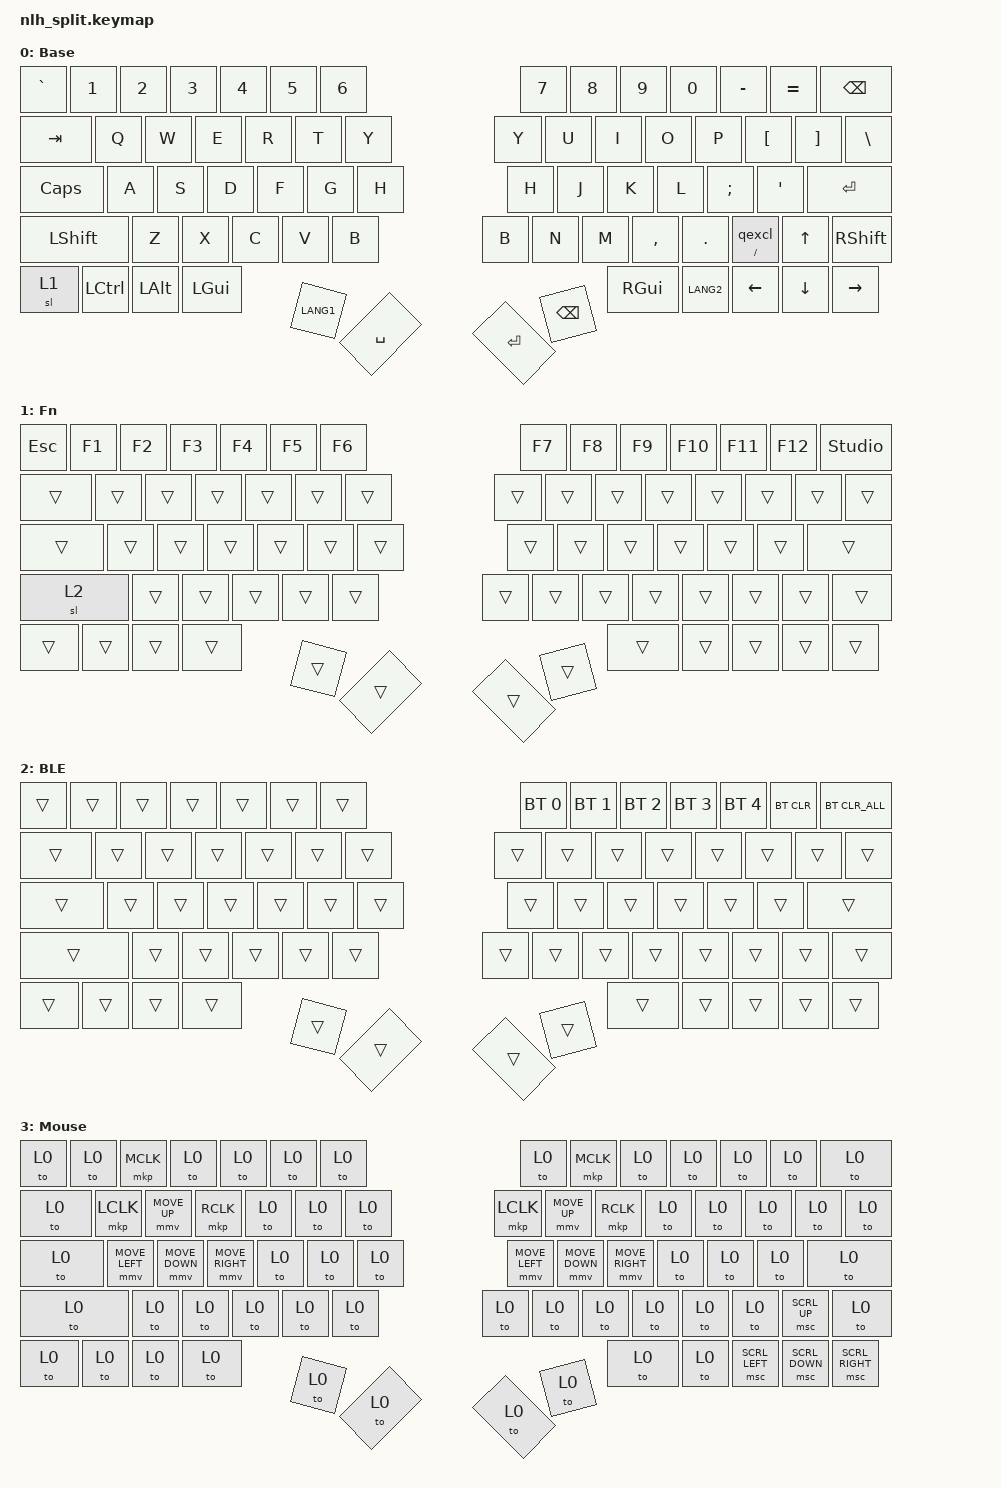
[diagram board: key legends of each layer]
#include <behaviors.dtsi>
#include <dt-bindings/zmk/keys.h>
#include <dt-bindings/zmk/bt.h>
#include <dt-bindings/zmk/pointing.h>

/*
 * NLH Split — 70-key wireless split keyboard (ZMK, nice!nano v2)
 *
 * Layer 0 Base  : Standard QWERTY
 * Layer 1 Fn    : F1–F12, ZMK Studio unlock
 * Layer 2 BLE   : Bluetooth profile select / clear
 * Layer 3 Mouse : Mouse cursor / click / scroll
 *
 * Key layout by row:
 * ROW0 (14): `  1  2  3  4  5  6  |  7  8  9  0  -  =  BSPC
 * ROW1 (15): TAB  Q  W  E  R  T  Y  |  Y  U  I  O  P  [  ]  \
 * ROW2 (14): CAPS  A  S  D  F  G  H  |  H  J  K  L  ;  '  RET
 * ROW3 (14): LSFT  Z  X  C  V  B  |  B  N  M  ,  .  ?/!//  UP  RSFT
 * ROW4 (13): Fn  LCTL  LALT  LGUI  LANG1  SPC  |  RET  BSPC  RGUI  LANG2  ←  ↓  →
 *
 * Combo: SPC + RET → toggle mouse layer
 */

/* Mouse cursor: quadratic acceleration, 16ms interval */
&mmv {
    trigger-period-ms = <16>;
    time-to-max-speed-ms = <500>;
    acceleration-exponent = <2>;
};

/ {
    behaviors {

        /* mod-morph: tap=?, shift+tap=! */
        qexcl: qexcl {
            compatible = "zmk,behavior-mod-morph";
            #binding-cells = <0>;
            bindings = <&kp QMARK>, <&kp EXCL>;
            mods = <(MOD_LSFT|MOD_RSFT)>;
        };

        /* hold-tap: hold=/, tap=?/! (second cell unused, tap has 0 binding-cells) */
        qexcl_ht: qexcl_ht {
            compatible = "zmk,behavior-hold-tap";
            #binding-cells = <2>;
            tapping-term-ms = <200>;
            flavor = "tap-preferred";
            bindings = <&kp>, <&qexcl>;
        };

    };

    combos {
        compatible = "zmk,combos";
        /* SPC(62) + RET(63) simultaneously → toggle mouse layer */
        combo_mouse {
            timeout-ms = <50>;
            key-positions = <62 63>;
            bindings = <&tog 3>;
        };
    };

    keymap {
        compatible = "zmk,keymap";

        /* ===== Layer 0: Base ===== */
        default_layer {
            display-name = "Base";
            bindings = <
// ╭──────────┬──────────┬──────────┬──────────┬──────────┬──────────┬──────────╮   ╭──────────┬──────────┬──────────┬──────────┬──────────┬──────────┬───────────────╮
    &kp GRAVE  &kp N1     &kp N2     &kp N3     &kp N4     &kp N5     &kp N6         &kp N7     &kp N8     &kp N9     &kp N0     &kp MINUS  &kp EQUAL  &kp BSPC
// ├──────────┼──────────┼──────────┼──────────┼──────────┼──────────┼──────────┤   ├──────────┼──────────┼──────────┼──────────┼──────────┼──────────┼──────────┬────┤
    &kp TAB    &kp Q      &kp W      &kp E      &kp R      &kp T      &kp Y          &kp Y      &kp U      &kp I      &kp O      &kp P      &kp LBKT   &kp RBKT   &kp BSLH
// ├──────────┼──────────┼──────────┼──────────┼──────────┼──────────┼──────────┤   ├──────────┼──────────┼──────────┼──────────┼──────────┼──────────┴──────────┤
    &kp CLCK   &kp A      &kp S      &kp D      &kp F      &kp G      &kp H          &kp H      &kp J      &kp K      &kp L      &kp SEMI   &kp SQT    &kp RET
// ├──────────┼──────────┼──────────┼──────────┼──────────┼──────────┤             ├──────────┼──────────┼──────────┼──────────┼──────────┼──────────┼──────────┤
    &kp LSHFT  &kp Z      &kp X      &kp C      &kp V      &kp B                    &kp B      &kp N      &kp M      &kp COMMA  &kp DOT    &qexcl_ht FSLH 0 &kp UP  &kp RSHFT
// ├──────────┼──────────┼──────────┼──────────┼──────────┼──────────┤             ├──────────┼──────────┼──────────┼──────────┼──────────┼──────────┼──────────┤
    &sl 1      &kp LCTRL  &kp LALT   &kp LGUI   &kp LANG1  &kp SPACE                &kp RET    &kp BSPC   &kp RGUI   &kp LANG2  &kp LEFT   &kp DOWN   &kp RIGHT
// ╰──────────┴──────────┴──────────┴──────────┴──────────┴──────────╯             ╰──────────┴──────────┴──────────┴──────────┴──────────┴──────────┴──────────╯
            >;
        };

        /* ===== Layer 1: Fn ===== */
        lower_layer {
            display-name = "Fn";
            bindings = <
// ╭─────────┬────────┬────────┬────────┬────────┬────────┬────────╮   ╭────────┬────────┬────────┬─────────┬─────────┬─────────┬────────────────╮
    &kp ESC   &kp F1   &kp F2   &kp F3   &kp F4   &kp F5   &kp F6       &kp F7   &kp F8   &kp F9   &kp F10   &kp F11   &kp F12   &studio_unlock
// ├─────────┼────────┼────────┼────────┼────────┼────────┼────────┤   ├────────┼────────┼────────┼─────────┼─────────┼─────────┼─────────┬──────┤
    &trans    &trans   &trans   &trans   &trans   &trans   &trans        &trans   &trans   &trans   &trans    &trans    &trans    &trans    &trans
// ├─────────┼────────┼────────┼────────┼────────┼────────┼────────┤   ├────────┼────────┼────────┼─────────┼─────────┼─────────┴─────────┤
    &trans    &trans   &trans   &trans   &trans   &trans   &trans        &trans   &trans   &trans   &trans    &trans    &trans    &trans
// ├─────────┼────────┼────────┼────────┼────────┼────────┤             ├────────┼────────┼────────┼─────────┼─────────┼─────────┼─────────┤
    &sl 2     &trans   &trans   &trans   &trans   &trans                 &trans   &trans   &trans   &trans    &trans    &trans    &trans    &trans
// ├─────────┼────────┼────────┼────────┼────────┼────────┤             ├────────┼────────┼────────┼─────────┼─────────┼─────────┼─────────┤
    &trans    &trans   &trans   &trans   &trans   &trans                 &trans   &trans   &trans   &trans    &trans    &trans    &trans
// ╰─────────┴────────┴────────┴────────┴────────┴────────╯             ╰────────┴────────┴────────┴─────────┴─────────┴─────────┴─────────╯
            >;
        };

        /* ===== Layer 2: BLE ===== */
        raise_layer {
            display-name = "BLE";
            bindings = <
// ╭────────┬────────┬────────┬────────┬────────┬────────┬────────╮   ╭──────────────┬──────────────┬──────────────┬──────────────┬──────────────┬───────────┬───────────────╮
    &trans   &trans   &trans   &trans   &trans   &trans   &trans        &bt BT_SEL 0   &bt BT_SEL 1   &bt BT_SEL 2   &bt BT_SEL 3   &bt BT_SEL 4   &bt BT_CLR  &bt BT_CLR_ALL
// ├────────┼────────┼────────┼────────┼────────┼────────┼────────┤   ├──────────────┼──────────────┼──────────────┼──────────────┼──────────────┼───────────┼───────────┬───┤
    &trans   &trans   &trans   &trans   &trans   &trans   &trans        &trans         &trans         &trans         &trans         &trans         &trans      &trans      &trans
// ├────────┼────────┼────────┼────────┼────────┼────────┼────────┤   ├──────────────┼──────────────┼──────────────┼──────────────┼──────────────┼───────────┴───────────┤
    &trans   &trans   &trans   &trans   &trans   &trans   &trans        &trans         &trans         &trans         &trans         &trans         &trans      &trans
// ├────────┼────────┼────────┼────────┼────────┼────────┤             ├──────────────┼──────────────┼──────────────┼──────────────┼──────────────┼───────────┼───────────┤
    &trans   &trans   &trans   &trans   &trans   &trans                 &trans         &trans         &trans         &trans         &trans         &trans      &trans      &trans
// ├────────┼────────┼────────┼────────┼────────┼────────┤             ├──────────────┼──────────────┼──────────────┼──────────────┼──────────────┼───────────┼───────────┤
    &trans   &trans   &trans   &trans   &trans   &trans                 &trans         &trans         &trans         &trans         &trans         &trans      &trans
// ╰────────┴────────┴────────┴────────┴────────┴────────╯             ╰──────────────┴──────────────┴──────────────┴──────────────┴──────────────┴───────────┴───────────╯
            >;
        };

        /* ===== Layer 3: Mouse ===== */
        mouse_layer {
            display-name = "Mouse";
            bindings = <
// ╭────────┬──────────────┬──────────────┬──────────────┬────────┬────────┬────────╮   ╭────────┬──────────────┬──────────────┬────────┬────────┬────────┬────────╮
    &to 0    &to 0          &mkp MCLK      &to 0          &to 0    &to 0    &to 0         &to 0    &mkp MCLK      &to 0          &to 0    &to 0    &to 0    &to 0
// ├────────┼──────────────┼──────────────┼──────────────┼────────┼────────┼────────┤   ├────────┼──────────────┼──────────────┼────────┼────────┼────────┼────────┬──────┤
    &to 0    &mkp LCLK      &mmv MOVE_UP   &mkp RCLK      &to 0    &to 0    &to 0         &mkp LCLK &mmv MOVE_UP  &mkp RCLK      &to 0    &to 0    &to 0    &to 0    &to 0
// ├────────┼──────────────┼──────────────┼──────────────┼────────┼────────┼────────┤   ├────────┼──────────────┼──────────────┼────────┼────────┼────────┴────────┤
    &to 0    &mmv MOVE_LEFT &mmv MOVE_DOWN &mmv MOVE_RIGHT &to 0   &to 0    &to 0         &mmv MOVE_LEFT &mmv MOVE_DOWN &mmv MOVE_RIGHT &to 0 &to 0  &to 0    &to 0
// ├────────┼──────────────┼──────────────┼──────────────┼────────┼────────┤             ├────────┼──────────────┼──────────────┼────────┼────────┼────────┼──────────────┤
    &to 0    &to 0          &to 0          &to 0          &to 0    &to 0                  &to 0    &to 0          &to 0          &to 0    &to 0    &to 0    &msc SCRL_UP   &to 0
// ├────────┼──────────────┼──────────────┼──────────────┼────────┼────────┤             ├────────┼──────────────┼──────────────┼────────┼────────────────┼──────────────┼────────────────┤
    &to 0    &to 0          &to 0          &to 0          &to 0    &to 0                  &to 0    &to 0          &to 0          &to 0    &msc SCRL_LEFT   &msc SCRL_DOWN &msc SCRL_RIGHT
// ╰────────┴──────────────┴──────────────┴──────────────┴────────┴────────╯             ╰────────┴──────────────┴──────────────┴────────┴────────────────┴──────────────┴────────────────╯
            >;
        };

        extra_layer_1 { status = "reserved"; };
        extra_layer_2 { status = "reserved"; };
        extra_layer_3 { status = "reserved"; };
    };
};
